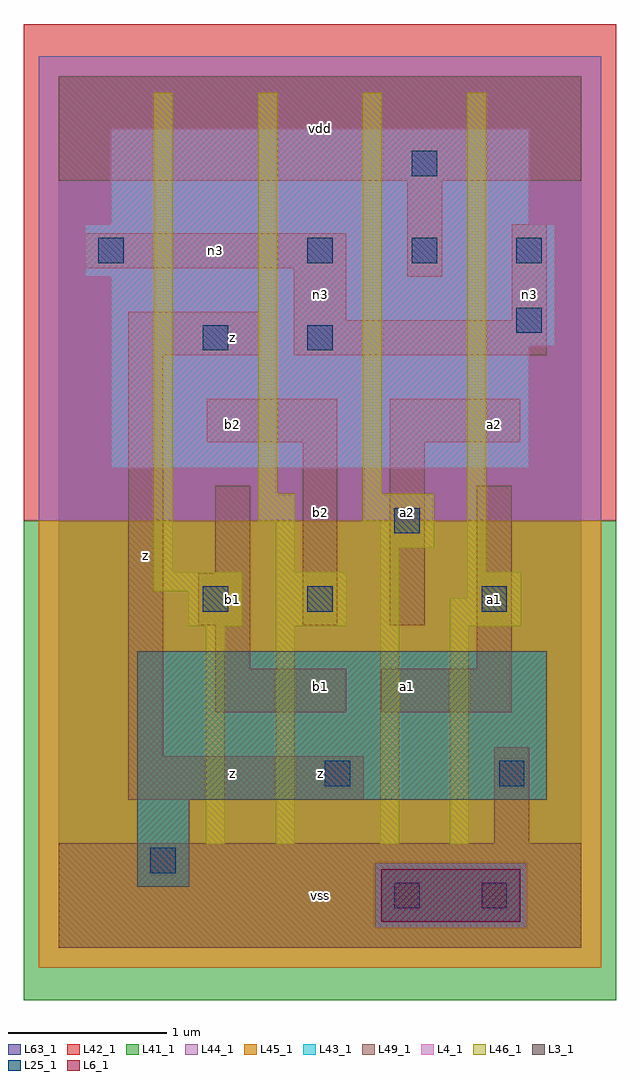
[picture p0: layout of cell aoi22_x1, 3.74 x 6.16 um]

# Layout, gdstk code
import gdstk
lib = gdstk.Library(unit=1e-6, precision=1e-09)
def R(c, l, rs):  # rectangles x0, y0, x1, y1
    for r in rs: c.add(gdstk.rectangle(r[:2], r[2:], *l))
def A(c, l, x, y, w, h, nx, ny, dx, dy):  # array of equal rectangles
    R(c, l, [(x+i*dx, y+j*dy, x+i*dx+w, y+j*dy+h) for i in range(nx) for j in range(ny)])
L3_1 = (3, 1)
L4_1 = (4, 1)
L6_1 = (6, 1)
L25_1 = (25, 1)
L41_1 = (41, 1)
L42_1 = (42, 1)
L43_1 = (43, 1)
L44_1 = (44, 1)
L45_1 = (45, 1)
L46_1 = (46, 1)
L49_1 = (49, 1)
L63_1 = (63, 1)

aoi22_x1 = lib.new_cell('aoi22_x1')
R(aoi22_x1, L3_1, [(0.495,0.385,0.825,0.935), (0.495,0.935,3.08,1.87)])
R(aoi22_x1, L4_1, [(0.33,3.025,2.97,3.795), (0.33,3.795,3.135,4.235), (0.165,4.235,3.135,4.565), (0.33,4.565,2.97,5.17)])
R(aoi22_x1, L6_1, [(2.035,0.165,2.915,0.495)])
A(aoi22_x1, L25_1, 1.57, 4.32, 0.16, 0.16, 3, 1, 0.66, 0)
R(aoi22_x1, L25_1, [(2.12,0.25,2.28,0.41), (2.67,0.25,2.83,0.41), (0.58,0.47,0.74,0.63), (1.68,1.02,1.84,1.18), (2.78,1.02,2.94,1.18), (0.91,2.12,1.07,2.28), (1.57,2.12,1.73,2.28), (2.67,2.12,2.83,2.28), (2.12,2.615,2.28,2.775), (0.91,3.77,1.07,3.93), (1.57,3.77,1.73,3.93), (2.89,3.88,3.05,4.04), (0.25,4.32,0.41,4.48), (2.23,4.87,2.39,5.03)])
R(aoi22_x1, L41_1, [(-0.22,-0.33,3.52,2.695)])
R(aoi22_x1, L42_1, [(-0.22,2.695,3.52,5.83)])
R(aoi22_x1, L43_1, [(2.035,0.165,2.915,0.495), (0.495,0.385,0.825,0.935), (0.495,0.935,3.08,1.87), (0.33,3.025,2.97,3.795), (0.33,3.795,3.135,4.235), (0.165,4.235,3.135,4.565), (0.33,4.565,2.97,5.17)])
R(aoi22_x1, L44_1, [(1.995,0.125,2.955,0.535), (-0.125,2.695,3.425,5.625)])
R(aoi22_x1, L45_1, [(-0.125,-0.125,3.425,0.125), (-0.125,0.125,1.995,0.535), (2.955,0.125,3.425,0.535), (-0.125,0.535,3.425,2.695)])
R(aoi22_x1, L46_1, [(0.93,0.655,1.05,2.03), (1.37,0.655,1.49,2.03), (2.03,0.655,2.15,2.525), (2.47,0.655,2.59,2.03), (0.82,2.03,1.16,2.25), (1.37,2.03,1.82,2.37), (2.47,2.03,2.92,2.205), (2.58,2.205,2.92,2.37), (0.6,2.25,1.16,2.37), (0.6,2.37,0.72,5.395), (1.37,2.37,1.49,2.69), (2.58,2.37,2.7,5.395), (2.03,2.525,2.37,2.69), (1.26,2.69,1.49,2.865), (1.92,2.69,2.37,2.865), (1.26,2.865,1.38,5.395), (1.92,2.865,2.04,5.395)])
R(aoi22_x1, L49_1, [(0,0,3.3,0.66), (2.75,0.66,2.97,1.265), (0.44,0.935,1.925,1.21), (0.44,1.21,0.66,3.74), (0.99,1.485,1.815,1.76), (2.035,1.485,2.86,1.76), (0.99,1.76,1.21,2.035), (2.64,1.76,2.86,2.915), (0.88,2.035,1.21,2.365), (1.54,2.035,1.76,3.19), (2.09,2.035,2.31,3.19), (0.99,2.365,1.21,2.915), (0.935,3.19,1.76,3.465), (2.09,3.19,2.915,3.465), (0.44,3.74,1.265,4.015), (1.485,3.74,3.08,3.96), (1.485,3.96,1.815,4.29), (2.86,3.96,3.08,4.565), (2.2,4.235,2.42,4.84), (0.165,4.29,1.815,4.51), (0,4.84,3.3,5.5)])
R(aoi22_x1, L63_1, [(0,0,3.3,5.5)])
aoi22_x1.add(gdstk.Label('z', (1.1,1.1), layer=49, texttype=1))
aoi22_x1.add(gdstk.Label('z', (1.1,1.1), layer=49, texttype=1))
aoi22_x1.add(gdstk.Label('b1', (1.1,2.2), layer=49, texttype=1))
aoi22_x1.add(gdstk.Label('b1', (1.1,2.2), layer=49, texttype=1))
aoi22_x1.add(gdstk.Label('z', (0.55,2.475), layer=49, texttype=1))
aoi22_x1.add(gdstk.Label('z', (0.55,2.475), layer=49, texttype=1))
aoi22_x1.add(gdstk.Label('b2', (1.1,3.3), layer=49, texttype=1))
aoi22_x1.add(gdstk.Label('b2', (1.1,3.3), layer=49, texttype=1))
aoi22_x1.add(gdstk.Label('z', (1.1,3.85), layer=49, texttype=1))
aoi22_x1.add(gdstk.Label('z', (1.1,3.85), layer=49, texttype=1))
aoi22_x1.add(gdstk.Label('vss', (1.65,0.33), layer=49, texttype=1))
aoi22_x1.add(gdstk.Label('vss', (1.65,0.33), layer=49, texttype=1))
aoi22_x1.add(gdstk.Label('z', (1.65,1.1), layer=49, texttype=1))
aoi22_x1.add(gdstk.Label('z', (1.65,1.1), layer=49, texttype=1))
aoi22_x1.add(gdstk.Label('b1', (1.65,1.65), layer=49, texttype=1))
aoi22_x1.add(gdstk.Label('b1', (1.65,1.65), layer=49, texttype=1))
aoi22_x1.add(gdstk.Label('b2', (1.65,2.75), layer=49, texttype=1))
aoi22_x1.add(gdstk.Label('b2', (1.65,2.75), layer=49, texttype=1))
aoi22_x1.add(gdstk.Label('n3', (1.65,4.125), layer=49, texttype=1))
aoi22_x1.add(gdstk.Label('n3', (0.99,4.4), layer=49, texttype=1))
aoi22_x1.add(gdstk.Label('vdd', (1.65,5.17), layer=49, texttype=1))
aoi22_x1.add(gdstk.Label('vdd', (1.65,5.17), layer=49, texttype=1))
aoi22_x1.add(gdstk.Label('a1', (2.2,1.65), layer=49, texttype=1))
aoi22_x1.add(gdstk.Label('a1', (2.2,1.65), layer=49, texttype=1))
aoi22_x1.add(gdstk.Label('a2', (2.2,2.75), layer=49, texttype=1))
aoi22_x1.add(gdstk.Label('a2', (2.2,2.75), layer=49, texttype=1))
aoi22_x1.add(gdstk.Label('a1', (2.75,2.2), layer=49, texttype=1))
aoi22_x1.add(gdstk.Label('a1', (2.75,2.2), layer=49, texttype=1))
aoi22_x1.add(gdstk.Label('a2', (2.75,3.3), layer=49, texttype=1))
aoi22_x1.add(gdstk.Label('a2', (2.75,3.3), layer=49, texttype=1))
aoi22_x1.add(gdstk.Label('n3', (2.97,4.125), layer=49, texttype=1))

lib.write_gds('aoi22_x1.gds')
